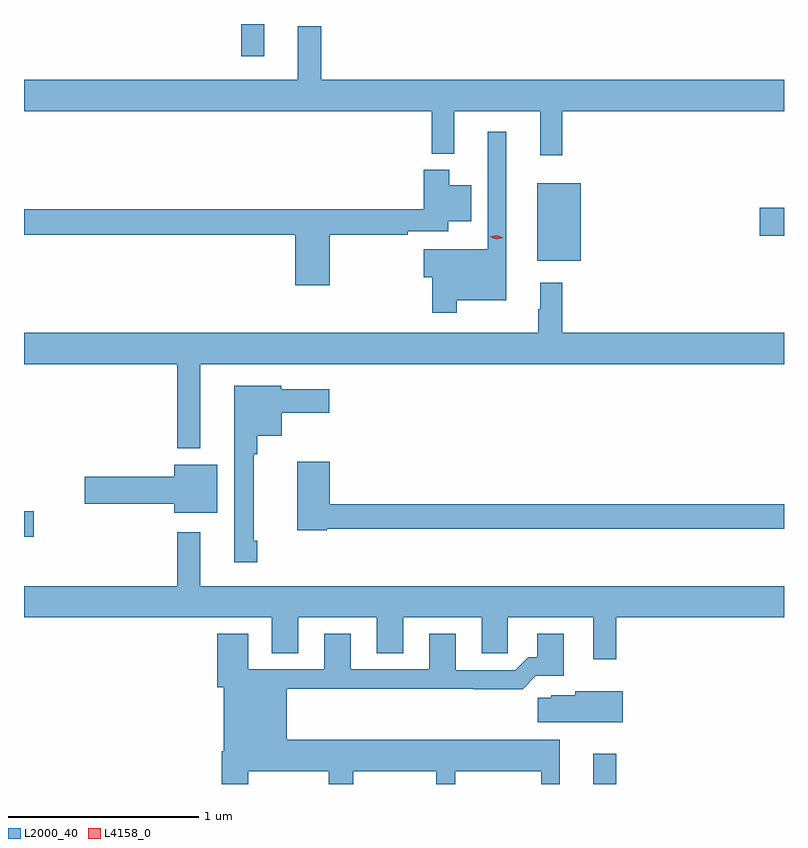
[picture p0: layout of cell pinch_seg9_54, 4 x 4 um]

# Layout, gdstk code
import gdstk
lib = gdstk.Library(unit=1e-6, precision=1e-09)
def R(c, l, rs):  # rectangles x0, y0, x1, y1
    for r in rs: c.add(gdstk.rectangle(r[:2], r[2:], *l))
def P(c, l, *ps):  # polygons
    for p in ps: c.add(gdstk.Polygon(p, *l))
L2000_40 = (2000, 40)
L4158_0 = (4158, 0)

pinch_seg9_54 = lib.new_cell('pinch_seg9_54')
R(pinch_seg9_54, L2000_40, [(914.819,1186.218,914.941,1186.378), (911.823,1187.519,911.875,1187.654), (914.525,1188.971,914.752,1189.381), (915.696,1189.103,915.823,1189.25), (912.966,1190.049,913.087,1190.218)])
P(pinch_seg9_54, L2000_40, [(914.657,1189.76),(915.823,1189.76),(915.823,1189.924),(913.387,1189.924),(913.387,1190.206),(913.265,1190.206),(913.265,1189.924),(911.823,1189.924),(911.823,1189.76),(913.969,1189.76),(913.969,1189.535),(914.087,1189.535),(914.087,1189.76),(914.54,1189.76),(914.54,1189.527),(914.657,1189.527)],
  [(914.101,1188.764),(914.362,1188.764),(914.362,1189.651),(914.265,1189.651),(914.265,1189.033),(913.928,1189.033),(913.928,1188.886),(913.972,1188.886),(913.972,1188.699),(914.101,1188.699)],
  [(913.433,1189.108),(913.844,1189.108),(913.844,1189.128),(914.056,1189.128),(914.056,1189.181),(914.176,1189.181),(914.176,1189.369),(914.062,1189.369),(914.062,1189.45),(913.928,1189.45),(913.928,1189.244),(911.823,1189.244),(911.823,1189.108),(913.25,1189.108),(913.25,1188.843),(913.433,1188.843)],
  [(912.751,1188.428),(915.823,1188.428),(915.823,1188.592),(914.657,1188.592),(914.657,1188.856),(914.54,1188.856),(914.54,1188.716),(914.529,1188.716),(914.529,1188.592),(911.823,1188.592),(911.823,1188.428),(912.63,1188.428),(912.63,1187.984),(912.751,1187.984)],
  [(913.051,1187.497),(913.033,1187.497),(913.033,1187.954),(913.051,1187.954),(913.051,1188.05),(913.18,1188.05),(913.18,1188.173),(913.429,1188.173),(913.429,1188.295),(913.176,1188.295),(913.176,1188.313),(912.929,1188.313),(912.929,1187.385),(913.051,1187.385)],
  [(913.416,1187.562),(915.823,1187.562),(915.823,1187.69),(913.433,1187.69),(913.433,1187.914),(913.262,1187.914),(913.262,1187.554),(913.416,1187.554)],
  [(912.841,1187.899),(912.614,1187.899),(912.614,1187.834),(912.144,1187.834),(912.144,1187.692),(912.614,1187.692),(912.614,1187.645),(912.841,1187.645)],
  [(912.63,1187.542),(912.63,1187.26),(911.823,1187.26),(911.823,1187.096),(913.127,1187.096),(913.127,1186.906),(913.267,1186.906),(913.267,1187.096),(913.679,1187.096),(913.679,1186.906),(913.819,1186.906),(913.819,1187.096),(914.231,1187.096),(914.231,1186.906),(914.37,1186.906),(914.37,1187.096),(914.819,1187.096),(914.819,1186.875),(914.941,1186.875),(914.941,1187.096),(915.823,1187.096),(915.823,1187.26),(912.751,1187.26),(912.751,1187.542)],
  [(913.003,1186.286),(913.427,1186.286),(913.427,1186.218),(913.555,1186.218),(913.555,1186.286),(913.994,1186.286),(913.994,1186.218),(914.092,1186.218),(914.092,1186.286),(914.546,1186.286),(914.546,1186.218),(914.644,1186.218),(914.644,1186.45),(913.207,1186.45),(913.207,1186.72),(914.191,1186.72),(914.191,1186.718),(914.447,1186.718),(914.517,1186.788),(914.665,1186.788),(914.665,1187.008),(914.525,1187.008),(914.525,1186.885),(914.476,1186.885),(914.409,1186.818),(914.095,1186.818),(914.095,1187.008),(913.955,1187.008),(913.955,1186.821),(913.543,1186.821),(913.543,1187.008),(913.403,1187.008),(913.403,1186.821),(913.003,1186.821),(913.003,1187.008),(912.839,1187.008),(912.839,1186.728),(912.875,1186.728),(912.875,1186.39),(912.863,1186.39),(912.863,1186.218),(913.003,1186.218)],
  [(914.974,1186.705),(914.724,1186.705),(914.724,1186.684),(914.598,1186.684),(914.598,1186.673),(914.526,1186.673),(914.526,1186.544),(914.974,1186.544)])
P(pinch_seg9_54, L4158_0, [(914.31,1189.085),(914.275,1189.097),(914.275,1189.097),(914.275,1189.097),(914.311,1189.105),(914.346,1189.094),(914.346,1189.094),(914.346,1189.094)])

lib.write_gds('pinch_seg9_54.gds')
